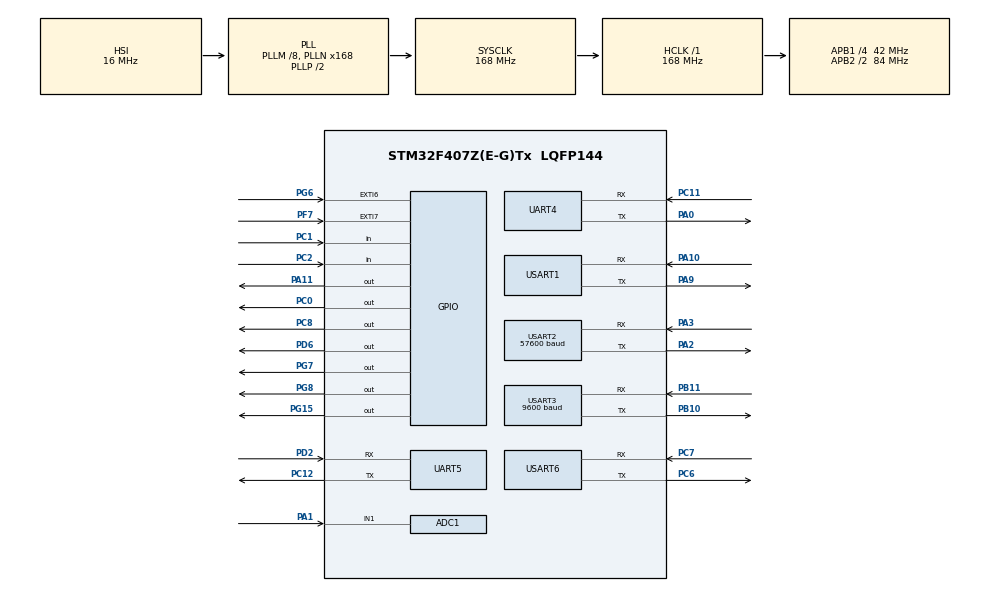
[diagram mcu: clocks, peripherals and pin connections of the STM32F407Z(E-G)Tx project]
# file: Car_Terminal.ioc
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ADC1.Channel-0\#ChannelRegularConversion=ADC_CHANNEL_1
ADC1.ClockPrescaler=ADC_CLOCK_SYNC_PCLK_DIV6
ADC1.NbrOfConversionFlag=1
ADC1.Rank-0\#ChannelRegularConversion=1
ADC1.SamplingTime-0\#ChannelRegularConversion=ADC_SAMPLETIME_3CYCLES
ADC1.master=1
Mcu.Family=STM32F4
Mcu.Name=STM32F407Z(E-G)Tx
Mcu.Package=LQFP144
NVIC.EXTI9_5_IRQn=true\:14\:0\:true\:false\:true\:true\:true\:true
NVIC.PriorityGroup=NVIC_PRIORITYGROUP_4
NVIC.RCC_IRQn=true\:0\:0\:false\:false\:true\:true\:false\:true
NVIC.TIM2_IRQn=true\:15\:0\:true\:false\:true\:true\:true\:true
NVIC.TIM6_DAC_IRQn=true\:0\:0\:false\:false\:true\:true\:true\:true
NVIC.UART5_IRQn=true\:0\:0\:false\:false\:true\:true\:true\:true
NVIC.USART6_IRQn=true\:0\:0\:false\:false\:true\:true\:true\:true
PA0-WKUP.Mode=Asynchronous
PA0-WKUP.Signal=UART4_TX
PA1.Signal=ADCx_IN1
PA10.Mode=Asynchronous
PA10.Signal=USART1_RX
PA11.GPIO_PuPd=GPIO_PULLUP
PA11.Signal=GPIO_Output
PA2.Mode=Asynchronous
PA2.Signal=USART2_TX
PA3.Mode=Asynchronous
PA3.Signal=USART2_RX
PA9.Mode=Asynchronous
PA9.Signal=USART1_TX
PB10.Mode=Asynchronous
PB10.Signal=USART3_TX
PB11.Mode=Asynchronous
PB11.Signal=USART3_RX
PC0.GPIO_PuPd=GPIO_PULLUP
PC0.Signal=GPIO_Output
PC1.GPIO_PuPd=GPIO_PULLUP
PC1.Signal=GPIO_Input
PC11.Mode=Asynchronous
PC11.Signal=UART4_RX
PC12.Mode=Asynchronous
PC12.Signal=UART5_TX
PC2.GPIO_PuPd=GPIO_PULLUP
PC2.Signal=GPIO_Input
PC6.Mode=Asynchronous
PC6.Signal=USART6_TX
PC7.Mode=Asynchronous
PC7.Signal=USART6_RX
PC8.GPIO_PuPd=GPIO_PULLUP
PC8.Signal=GPIO_Output
PD2.Mode=Asynchronous
PD2.Signal=UART5_RX
PD6.GPIO_PuPd=GPIO_PULLUP
PD6.Signal=GPIO_Output
PF7.GPIO_ModeDefaultEXTI=GPIO_MODE_IT_RISING
PF7.GPIO_PuPd=GPIO_PULLDOWN
PF7.Signal=GPXTI7
PG15.GPIO_PuPd=GPIO_PULLUP
PG15.Signal=GPIO_Output
PG6.GPIO_PuPd=GPIO_PULLUP
PG6.Signal=GPXTI6
PG7.GPIO_PuPd=GPIO_PULLUP
PG7.Signal=GPIO_Output
PG8.GPIO_PuPd=GPIO_PULLUP
PG8.Signal=GPIO_Output
ProjectManager.HeapSize=0x200
ProjectManager.StackSize=0x400
ProjectManager.TargetToolchain=MDK-ARM V5
RCC.48MHZClocksFreq_Value=84000000
RCC.AHBFreq_Value=168000000
RCC.APB1CLKDivider=RCC_HCLK_DIV4
RCC.APB1Freq_Value=42000000
RCC.APB1TimFreq_Value=84000000
RCC.APB2CLKDivider=RCC_HCLK_DIV2
RCC.APB2Freq_Value=84000000
RCC.APB2TimFreq_Value=168000000
RCC.CortexFreq_Value=168000000
RCC.HCLKFreq_Value=168000000
RCC.HSE_VALUE=25000000
RCC.HSI_VALUE=16000000
RCC.LSE_VALUE=32768
RCC.PLLM=8
RCC.PLLN=168
RCC.SYSCLKFreq_VALUE=168000000
RCC.SYSCLKSource=RCC_SYSCLKSOURCE_PLLCLK
RCC.VCOOutputFreq_Value=336000000
SH.ADCx_IN1.0=ADC1_IN1,IN1
TIM2.AutoReloadPreload=TIM_AUTORELOAD_PRELOAD_ENABLE
TIM2.ClockDivision=TIM_CLOCKDIVISION_DIV4
TIM2.CounterMode=TIM_COUNTERMODE_DOWN
TIM2.Period=6000
TIM2.Prescaler=42000
TIM4.AutoReloadPreload=TIM_AUTORELOAD_PRELOAD_ENABLE
TIM4.ClockDivision=TIM_CLOCKDIVISION_DIV4
TIM4.CounterMode=TIM_COUNTERMODE_DOWN
TIM4.Period=6000
TIM4.Prescaler=42000
TIM6.Period=9999
TIM6.Prescaler=16799
UART4.VirtualMode=Asynchronous
UART5.VirtualMode=Asynchronous
USART1.VirtualMode=VM_ASYNC
USART2.BaudRate=57600
USART2.VirtualMode=VM_ASYNC
USART3.BaudRate=9600
USART3.VirtualMode=VM_ASYNC
USART6.VirtualMode=VM_ASYNC
VP_TIM2_VS_ClockSourceINT.Mode=Internal
VP_TIM4_VS_ClockSourceINT.Mode=Internal
VP_TIM6_VS_ClockSourceINT.Mode=Enable_Timer
board=custom

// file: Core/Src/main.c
/* USER CODE BEGIN Header */
/**
  ******************************************************************************
  * @file           : main.c
  * @brief          : Main program body
  ******************************************************************************
  * @attention
  *
  * Copyright (c) 2024 STMicroelectronics.
  * All rights reserved.
  *
  * This software is licensed under terms that can be found in the LICENSE file
  * in the root directory of this software component.
  * If no LICENSE file comes with this software, it is provided AS-IS.
  *
  ******************************************************************************
  */
/* USER CODE END Header */
#include "main.h"
#include "adc.h"
#include "tim.h"
#include "usart.h"
#include "gpio.h"

/* USER CODE BEGIN Includes */
#include "MyCallbackFunc.h"
#include "string.h"
#include "AS608.h"
#include "AES128.h"
#include "syn6288.h"
#include "TX510.h"

/* USER CODE END Includes */

void SystemClock_Config(void);

/* USER CODE BEGIN 0 */
uint8_t count=0;
extern int step;
extern int Resule_AlcoholTest;
extern volatile uint8_t Result_fgPrt;//指纹测试结果
extern volatile uint8_t playSoundFlag ;//音乐播放开关
extern uint8_t SYN_StopCom[] ; //停止合成
extern uint8_t SYN_SuspendCom[]; //暂停合成
extern uint8_t SYN_RecoverCom[]; //恢复合成
extern uint8_t SYN_ChackCom[] ; //状濁查诿
extern uint8_t SYN_PowerDownCom[] ; //进入POWER DOWN 状濁命仿
extern volatile uint8_t Start_AlcoholTest;//酒精测试阈值，大于这个值会触发提醒
extern int num;
extern uint8_t PILAO;
extern uint8_t fp_start;
uint8_t Control=0;//云端是否控制 0 无控制 1 控制
uint8_t SW=0;// 云端控制可以强制启动和锁定车辆  0 强制关闭 1强制打开
uint8_t Alcohol_value_Max=100;
uint8_t Alcohol_value_Min=60;
uint8_t Drink_switches=0;//默认饮酒驾驶不允许开车 0关 1开

/* USER CODE END 0 */

int main(void)
{
  /* USER CODE BEGIN 1 */
	//当所有测试均通过时，拉低PC0引脚输出低电平信号，引脚默认是高电平
	//PC1   默认上拉  按下PC1 进行指纹注册
	//PC2   默认上拉   按下PC2 进行面容注册

	//数据加密解密示例

//AES128_HANDLE AES128_Handle;
//	uint8_t DataBuff[64];//霿要加密的数据
//        uint8_t key[16];//钥匙key
//		uint32_t len;//加密的长庿
//				memset(key, 0, 16);//将key清零
//	key[0] = '1';//设置钥匙丿1其余全零
//    AES128_SetKey(&AES128_Handle, key);//AES128设置KEY，?过key获得对应的句柿
//	len = AES128_EncryptData(&AES128_Handle, DataBuff, 20);//通过句柄去去对数据进行加寿
//	AES128_DecryptData(&AES128_Handle, DataBuff, len);	//子操使:AES128解密128bit数据，len表示要解密数据的长度
  /* USER CODE END 1 */

  /* MCU Configuration--------------------------------------------------------*/

  /* Reset of all peripherals, Initializes the Flash interface and the Systick. */
  HAL_Init();

  /* Configure the system clock */
  SystemClock_Config();

  /* Initialize all configured peripherals */
  MX_GPIO_Init();
  MX_ADC1_Init();
  MX_TIM2_Init();
  MX_USART1_UART_Init();
  MX_USART2_UART_Init();
  MX_USART3_UART_Init();
  MX_UART5_Init();
  MX_UART4_Init();
  MX_USART6_UART_Init();
  MX_TIM4_Init();
  MX_TIM6_Init();
  /* USER CODE BEGIN 2 */
	//htim2.Instance->ARR=6000;

	HAL_TIM_Base_Start_IT(&htim6);

	//选择背景音乐2?(0：无背景音乐  1-15：背景音乐可逿)
		//m[0~16]:0背景音乐为静音，16背景音乐音量朿夿
		//v[0~16]:0朗读音量为静音，16朗读音量朿夿
		//t[0~5]:0朗读语?最慢，5朗读语?最忿
		//其他不常用功能请参迃数据手冿
		//SYN_FrameInfo(2, "[v7][m1][t5]欢迎使用绿深旗舰店SYN6288语音合成模块");
		//暂停合成，此时没有用到，用于展示函数用法
		//YS_SYN_Set(SYN_SuspendCom);

			Control=0;
			SW=1;
			if(Control==1)
		{

			 __HAL_GPIO_EXTI_CLEAR_IT(GPIO_PIN_7);
       HAL_NVIC_DisableIRQ(EXTI9_5_IRQn);
       HAL_TIM_Base_Stop_IT(&htim2);
			if(SW==0)//锁定车辆
			{
				HAL_TIM_Base_Start_IT(&htim2);
				Car_Status(0);
			}
			else//解锁车辆
			{
				SYN_FrameInfo(0, (uint8_t *)"[v7][m1][t5]车辆已解锁");
				Car_Status(1);
			}
	}
		else//进行正常指纹验证
		{

			num=3;
		}

  /* USER CODE END 2 */

  /* Infinite loop */
  /* USER CODE BEGIN WHILE */
  while (1)
  {
		while(1)
		{

			Add_FR();

		}

		 //press_FR();

    /* USER CODE END WHILE */

    /* USER CODE BEGIN 3 */

		if(fp_start==1)
		{
			 __HAL_GPIO_EXTI_CLEAR_IT(GPIO_PIN_7);
       HAL_NVIC_DisableIRQ(EXTI9_5_IRQn);
       HAL_TIM_Base_Stop_IT(&htim2);//防止被定时器打断
			HAL_TIM_Base_Stop_IT(&htim6);

			while(press_FR()!=1)
			{

			step=2;
			Result_fgPrt=0;
			num=0;
			HAL_TIM_Base_Stop_IT(&htim2);
			HAL_UART_Transmit(&huart1,(uint8_t *)"指纹验证失败",20,100);
			playSoundFlag=1;

			}

		  fp_start=0;
			//指纹验证成功

		step=2;
		num=3;

		Result_fgPrt=1;

		htim2.Instance->ARR=11000;//6秒触发一次

		HAL_UART_Transmit(&huart1,(uint8_t *)"指纹验证成功",20,100);

	HAL_NVIC_EnableIRQ(EXTI9_5_IRQn);
	HAL_TIM_Base_Start_IT(&htim2);
	HAL_TIM_Base_Start_IT(&htim6);

	}

	if(PILAO==1)
	{
		htim2.Instance->ARR=12000;
		HAL_TIM_Base_Start_IT(&htim2);

		if(playSoundFlag==1)
		{
			playSoundFlag=0;
		SYN_FrameInfo(0, (uint8_t *)"[v7][m1][t5]您已经疲劳驾驶，请停车休息");
		}

	}

		if(HAL_GPIO_ReadPin(GPIOC,GPIO_PIN_1)==RESET)//按下PC1指纹注册
		{
			int temp=5000;
			while(temp--){};
				if(HAL_GPIO_ReadPin(GPIOC,GPIO_PIN_1)==RESET)
				{

			 __HAL_GPIO_EXTI_CLEAR_IT(GPIO_PIN_7);
       HAL_NVIC_DisableIRQ(EXTI9_5_IRQn);
       HAL_TIM_Base_Stop_IT(&htim2);

			step=-1;
			SYN_FrameInfo(0, (uint8_t *)"[v7][m1][t5]请录入指纹");
			HAL_Delay(1000);

			if(!Add_FR())
			{

				SYN_FrameInfo(0, (uint8_t *)"[v7][m1][t5]指纹录入成功");

				HAL_Delay(1000);
				step =0;
				HAL_NVIC_EnableIRQ(EXTI9_5_IRQn);
        HAL_TIM_Base_Start_IT(&htim2);

		 }
			else
			{
				int count=2;
				SYN_FrameInfo(0, (uint8_t *)"[v7][m1][t5]指纹录入失败,请重新录入");
				HAL_Delay(1000);
				HAL_Delay(1000);
				while(count--)
				{
					if(!Add_FR())
					{
						SYN_FrameInfo(0, (uint8_t *)"[v7][m1][t5]指纹录入成功");
						HAL_Delay(1000);

						HAL_NVIC_EnableIRQ(EXTI9_5_IRQn);
						HAL_TIM_Base_Start_IT(&htim2);
						step =0;
						break;
					}
					else
					{
						SYN_FrameInfo(0, (uint8_t *)"[v7][m1][t5]指纹录入失败,请重新录入");

					}

				}

			}

		}
		}

//		if(HAL_GPIO_ReadPin(GPIOC,GPIO_PIN_2)==RESET)//按下PC2面容注册
//		{
//
//			int temp=5000;
//			while(temp--){};
//				if(HAL_GPIO_ReadPin(GPIOC,GPIO_PIN_1)==RESET)
//				{
//			 __HAL_GPIO_EXTI_CLEAR_IT(GPIO_PIN_7);
//       HAL_NVIC_DisableIRQ(EXTI9_5_IRQn);
//       HAL_TIM_Base_Stop_IT(&htim2);
//			TX510_OpenDisplay();//打开显示
//
//			step=-1;
//			SYN_FrameInfo(0, (uint8_t *)"[v7][m1][t5]请录入面容");
//			HAL_Delay(1000);
//			uint16_t *ID;
//			if(!TX510_Register(ID))
//			{
//
//				SYN_FrameInfo(0, (uint8_t *)"[v7][m1][t5]面容录入成功");
//				TX510_CloseDisplay();
//				HAL_Delay(1000);
//				step =0;
//				HAL_NVIC_EnableIRQ(EXTI9_5_IRQn);
//       HAL_TIM_Base_Start_IT(&htim2);
//

//		 }
//			else
//			{
//				int count=2;
//				SYN_FrameInfo(0, (uint8_t *)"[v7][m1][t5]面容录入失败,请重新录入");
//
//				while(count--)
//				{
//					HAL_Delay(1000);
//					HAL_Delay(1000);
//					if(!TX510_Register(ID))
//					{
//						SYN_FrameInfo(0, (uint8_t *)"[v7][m1][t5]面容录入成功");
//						HAL_Delay(1000);
//						 TX510_CloseDisplay();
//						HAL_NVIC_EnableIRQ(EXTI9_5_IRQn);
//						HAL_TIM_Base_Start_IT(&htim2);
//						step =0;
//						break;
//					}
//					else
//					{
//						SYN_FrameInfo(0, (uint8_t *)"[v7][m1][t5]面容录入失败,请重新录入");
//						HAL_Delay(1000);
//
//					}
//
//
//				}
//
//
//			}
//
//		}
//	}

		uint16_t distance=0;
		uint8_t n=0;
		char buf_recv[64]="";

		char *str=NULL;
		char *str1=NULL;

		if(__HAL_UART_GET_FLAG(&huart6, UART_FLAG_RXNE))
	{
		HAL_UART_Receive(&huart6,(uint8_t *)buf_recv,sizeof(buf_recv),10);
		remove_newline(buf_recv);//去除换行符
		//HAL_UART_Transmit(&huart1,buf_recv,strlen(buf_recv),100);
		str=strtok(buf_recv,":");
		while(str!=NULL)
		{
			n++;
			str=strtok(NULL,":");

			if(n==2)
			{
				for(str1=strtok(str," ");str1!=NULL;str1=strtok(NULL,"m"))
				{

					sscanf(str1,"%d",&distance);

				}

			}
		}
	}
		if(Control==0&&step==0)
		{
			if(distance<=300)
			{

				HAL_TIM_Base_Start_IT(&htim2);
				step=1;
			}
			else
			{
				HAL_TIM_Base_Start_IT(&htim2);
				if(playSoundFlag==1)
				{

				SYN_FrameInfo(0, (uint8_t *)"[v7][m1][t5]请靠近设备");

					playSoundFlag=0;
				}
			}
		}

		if(step==0&&playSoundFlag==1)
		{
			if(Control==1&&SW==0)
			{

				playSoundFlag=0;
				SYN_FrameInfo(0, (uint8_t *)"[v7][m1][t5]车辆已锁定");
				HAL_UART_Transmit(&huart1,"111",4,100);

			}

		}

		if( step==1 && playSoundFlag==1)//当前为第一步，且打开了语音
		{

			playSoundFlag=0;//置零等待触发

				LED_Control(LED_FP,2);//指纹灯

			SYN_FrameInfo(0, (uint8_t *)"[v7][m1][t5]请进行指纹验证");
		}
		else if(step==2)
		{

			if(playSoundFlag&&Result_fgPrt==1 )
			{

				playSoundFlag=0;
				LED_Control(LED_FP,0);
				LED_Control(LED_Alcohol,2);
				SYN_FrameInfo(0, (uint8_t *)"[v7][m1][t5]识别成功，请进行酒精验证");

			}

			 __HAL_GPIO_EXTI_CLEAR_IT(GPIO_PIN_7);
			 __HAL_GPIO_EXTI_CLEAR_IT(GPIO_PIN_6);
         HAL_NVIC_DisableIRQ(EXTI9_5_IRQn);
       HAL_TIM_Base_Stop_IT(&htim2);//防止被定时器打断
			if(Result_fgPrt)
			{
		if(Start_AlcoholTest==1)
		{

		step=3;
		uint8_t hp=10;//超时退出
		uint8_t num_value=20;
		uint16_t max_adcValue=0;

		while(hp--)
		{

			HAL_ADC_Start_IT(&hadc1);
			HAL_ADC_PollForConversion(&hadc1,100);//等待ADC转换完成
			uint32_t adcValue = HAL_ADC_GetValue(&hadc1);
			if(max_adcValue<adcValue)//获取最大值
			{
				max_adcValue=adcValue;
			}

			if(num_value<=0)
			{
				break;

			}

		}
		HAL_ADC_Stop_IT(&hadc1);
		float f1=max_adcValue /4095.0;
		float f2=(3.3 / 5.0)*1000.0;
		float alcoholPpm = f1*f2;//将电压值转化成ppm为单位的值
		uint8_t bac=(uint8_t)(0.21*alcoholPpm);//

			HAL_TIM_Base_Stop_IT(&htim2);//先关闭定时器
			htim2.Instance->ARR=12000;//设置间隔时间
			HAL_TIM_Base_Start_IT(&htim2);
		if(bac<Alcohol_value_Min)
		{
			num=3;
			Resule_AlcoholTest=1;//通过酒精测试
		}else if(bac>=Alcohol_value_Min&&bac<Alcohol_value_Max)//饮酒
		{

			num=3;
			Resule_AlcoholTest=2;

		}
		else
		{
			num=0;
			Resule_AlcoholTest=0;

		}
		if(bac<=30)//矫正基础值
		{
			bac=0;
		}
		char str[32]="";
		uint8_t len=sprintf(str,"血液中酒精浓度为 : %d mg/100ml ",bac);
		HAL_UART_Transmit(&huart1,(uint8_t *)str,len,100);
	}

			}
			else
			{
				playSoundFlag=0;
				step=1;
				SYN_FrameInfo(0, (uint8_t *)"[v7][m1][t5]验证失败");
				LED_Control(LED_FP,0);
				LED_Control(LED_Error,3);
			}
				HAL_NVIC_EnableIRQ(EXTI9_5_IRQn);
				HAL_TIM_Base_Start_IT(&htim2);
		}

				else if( step==3 && playSoundFlag==1)//当前为第二步，且打开了语音
		{
			      playSoundFlag=0;//置零等待触发
			if(Resule_AlcoholTest==1)//小于饮酒值
			{
			 SYN_FrameInfo(0, (uint8_t *)"[v7][m1][t5]管理就绪，请正常使用车辆");
				LED_Control(LED_Alcohol,0);
       LED_Control(LED_Ready,1);

			}
			else if(Resule_AlcoholTest==2)//饮酒驾驶
			{
				if(Drink_switches==1)
				{
					SYN_FrameInfo(0, (uint8_t *)"[v7][m1][t5]饮酒驾驶，请启动车辆");
				}
				else
				{
					SYN_FrameInfo(0, (uint8_t *)"[v7][m1][t5]饮酒驾驶，请关闭车辆");
				}
			}
			else
			{
				LED_Control(LED_Alcohol,0);//酒精测试灯关闭
				LED_Control(LED_Error,3);//ERROE 灯快闪
				SYN_FrameInfo(0, (uint8_t *)"[v7][m1][t5]非授权司机，请退出");

			}
		}

  }
  /* USER CODE END 3 */
}

void SystemClock_Config(void)
{
  RCC_OscInitTypeDef RCC_OscInitStruct = {0};
  RCC_ClkInitTypeDef RCC_ClkInitStruct = {0};

  /** Configure the main internal regulator output voltage
  */
  __HAL_RCC_PWR_CLK_ENABLE();
  __HAL_PWR_VOLTAGESCALING_CONFIG(PWR_REGULATOR_VOLTAGE_SCALE1);

  /** Initializes the RCC Oscillators according to the specified parameters
  * in the RCC_OscInitTypeDef structure.
  */
  RCC_OscInitStruct.OscillatorType = RCC_OSCILLATORTYPE_HSI;
  RCC_OscInitStruct.HSIState = RCC_HSI_ON;
  RCC_OscInitStruct.HSICalibrationValue = RCC_HSICALIBRATION_DEFAULT;
  RCC_OscInitStruct.PLL.PLLState = RCC_PLL_ON;
  RCC_OscInitStruct.PLL.PLLSource = RCC_PLLSOURCE_HSI;
  RCC_OscInitStruct.PLL.PLLM = 8;
  RCC_OscInitStruct.PLL.PLLN = 168;
  RCC_OscInitStruct.PLL.PLLP = RCC_PLLP_DIV2;
  RCC_OscInitStruct.PLL.PLLQ = 4;
  if (HAL_RCC_OscConfig(&RCC_OscInitStruct) != HAL_OK)
  {
    Error_Handler();
  }

  /** Initializes the CPU, AHB and APB buses clocks
  */
  RCC_ClkInitStruct.ClockType = RCC_CLOCKTYPE_HCLK|RCC_CLOCKTYPE_SYSCLK
                              |RCC_CLOCKTYPE_PCLK1|RCC_CLOCKTYPE_PCLK2;
  RCC_ClkInitStruct.SYSCLKSource = RCC_SYSCLKSOURCE_PLLCLK;
  RCC_ClkInitStruct.AHBCLKDivider = RCC_SYSCLK_DIV1;
  RCC_ClkInitStruct.APB1CLKDivider = RCC_HCLK_DIV4;
  RCC_ClkInitStruct.APB2CLKDivider = RCC_HCLK_DIV2;

  if (HAL_RCC_ClockConfig(&RCC_ClkInitStruct, FLASH_LATENCY_5) != HAL_OK)
  {
    Error_Handler();
  }
}

void Error_Handler(void)
{
  __disable_irq();
  while (1)
  {
  }
}
